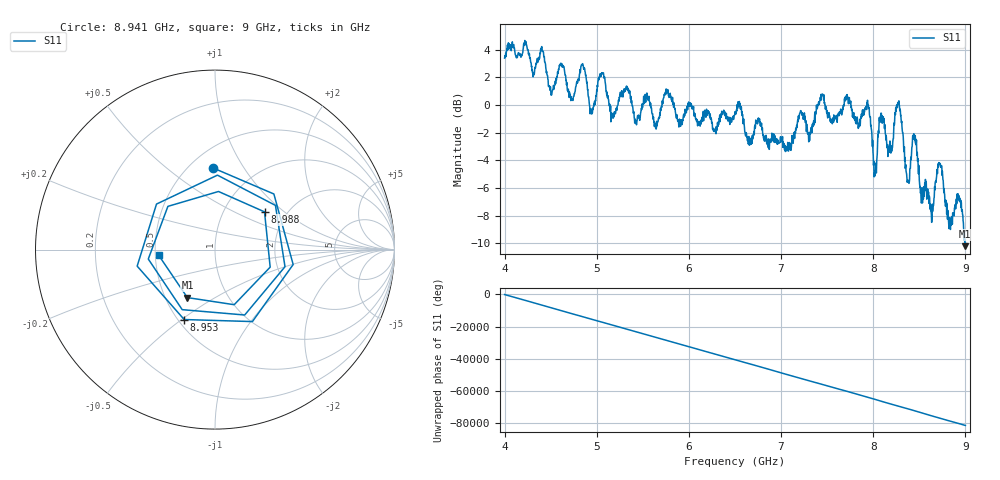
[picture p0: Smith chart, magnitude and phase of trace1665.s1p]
! Created with skrf 1.8.0 (http://scikit-rf.org).
# Hz S RI R 50.0
!freq ReS11 ImS11
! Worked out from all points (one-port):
!   1601 points, 4 GHz to 9 GHz, reference 50 ohm
!   lowest |S11| = -10.2 dB at 8.997 GHz (marker M1), VSWR 1.89, Z = 32.2 - j19.1 ohm
!   |S11| at or under -10 dB: 8.995585 GHz to end of sweep
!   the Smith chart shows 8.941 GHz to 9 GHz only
!   S11 on the Smith chart (normalised r, x): 8.941 GHz: 0.64, +0.74; 8.953 GHz: 0.54, -0.51; 8.988 GHz: 1.55, +0.74; 9 GHz: 0.52, -0.03
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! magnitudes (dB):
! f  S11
! 4 GHz  3.4
! 4.509 GHz  0.7
! 4.625 GHz  2.7
! 4.725 GHz  0.4
! 4.853 GHz  2.8
! 4.941 GHz  -0.3
! 5.05 GHz  2.3
! 5.169 GHz  -0.9
! 5.25 GHz  0.7
! 5.875 GHz  -1.0
! 6.5 GHz  -0.5
! 7.125 GHz  -2.3
! 7.75 GHz  0.1
! 7.944 GHz  0.0
! 8.022 GHz  -4.8
! 8.084 GHz  -0.6
! 8.184 GHz  -3.0
! 8.275 GHz  0.1
! 8.375 GHz  -5.4
! 8.444 GHz  -2.1
! 8.631 GHz  -7.9
! 8.719 GHz  -4.3
! 8.831 GHz  -8.1
! 8.941 GHz  -6.8
! 8.953 GHz  -7.4
! 8.988 GHz  -9.2
! 8.997 GHz  -10.2
! 9 GHz  -10.0
